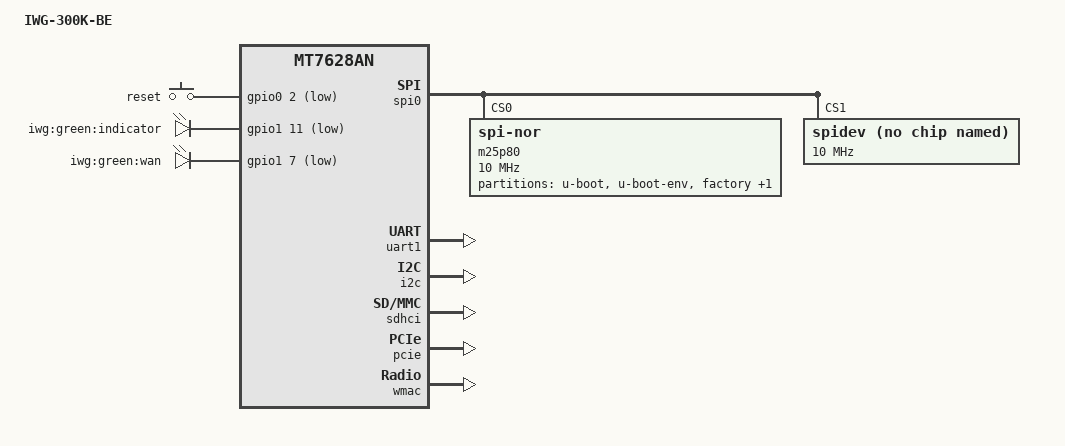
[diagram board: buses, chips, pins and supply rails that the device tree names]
/dts-v1/;

#include "mt7628an.dtsi"

#include <dt-bindings/gpio/gpio.h>
#include <dt-bindings/input/input.h>


/ {
	compatible = "iwg-300k,iwg-300k-be", "mediatek,mt7628an-soc";
	model = "IWG-300K-BE";
	
	chosen {
		bootargs = "console=ttyS0,57600";
	};

	gpio-keys-polled {
		compatible = "gpio-keys-polled";
		#address-cells = <1>;
		#size-cells = <0>;
		poll-interval = <20>;

		reset {
			label = "reset";
			gpios = <&gpio0 2 GPIO_ACTIVE_LOW>;
			linux,code = <KEY_RESTART>;
		};
	};

	gpio-leds {
		compatible = "gpio-leds";

		indicator {
			label = "iwg:green:indicator";
			gpios = <&gpio1 11 GPIO_ACTIVE_LOW>;
			default-state = "on";
		};

		wan {
			label = "iwg:green:wan";
			gpios = <&gpio1 7 GPIO_ACTIVE_LOW>;
			default-state = "off";
		};
	}; 
};

&pinctrl {
	state_default: pinctrl0 {
		gpio {
			ralink,group = "p0led_an", "p2led_an", "p3led_an", "p4led_an", "refclk", "i2s", "i2c", "gpio";
			ralink,function = "gpio";
		};
	};
};

&spi0 {
	status = "okay";

	m25p80@0 {
		#address-cells = <1>;
		#size-cells = <1>;
		compatible = "jedec,spi-nor";
		reg = <0>;
		spi-max-frequency = <10000000>;
		m25p,chunked-io = <32>;

		partition@0 {
			label = "u-boot";
			reg = <0x0 0x30000>;
			read-only;
		};

		partition@30000 {
			label = "u-boot-env";
			reg = <0x30000 0x10000>;
			read-only;
		};

		factory: partition@40000 {
			label = "factory";
			reg = <0x40000 0x10000>;
			read-only;
		};

		partition@50000 {
			label = "firmware";
			reg = <0x50000 0x1fb0000>;
		};
	};

	spidev@1 {
		#address-cells = <1>;
		#size-cells = <1>;
		compatible = "linux,spidev";
		reg = <1>;
		spi-max-frequency = <10000000>;
	};
};

&uart1 {
	status = "okay";
};

&i2c {
	status = "okay";
};

&ethernet {
	mtd-mac-address = <&factory 0x4>;
	mediatek,portmap = "llllw";
};

&sdhci {
	status = "okay";
};

&pcie {
	status = "okay";
};

&wmac {
	status = "okay";
};
